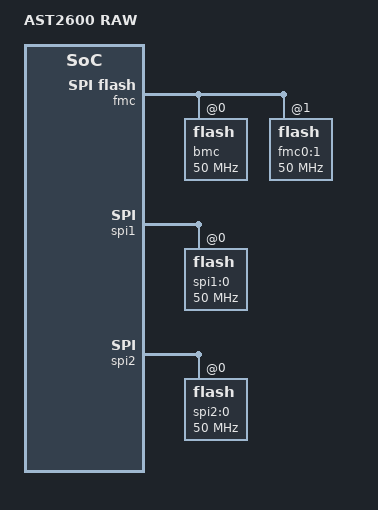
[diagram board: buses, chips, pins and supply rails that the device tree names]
// SPDX-License-Identifier: GPL-2.0-or-later
// Copyright 2019 IBM Corp.

/dts-v1/;

#include "aspeed-g6.dtsi"
#include <dt-bindings/gpio/aspeed-gpio.h>

/ {
	model = "AST2600 RAW";
};

&emmc_controller {
	status = "disabled";
};

&emmc {
	status = "disabled";
};

&fmc {
	status = "okay";
	pinctrl-names = "default";
	pinctrl-0 = <&pinctrl_fwqspi_default>;

	flash@0 {
		status = "okay";
		m25p,fast-read;
		label = "bmc";
		spi-rx-bus-width = <2>;
		spi-tx-bus-width = <2>;
		spi-max-frequency = <50000000>;
#include "aspeed-evb-flash-layout-64.dtsi"
	};

	flash@1 {
		status = "okay";
		m25p,fast-read;
		label = "fmc0:1";
		spi-rx-bus-width = <2>;
		spi-tx-bus-width = <2>;
		spi-max-frequency = <50000000>;
	};

	flash@2 {
		status = "disabled";
		m25p,fast-read;
		label = "fmc0:2";
		spi-rx-bus-width = <2>;
		spi-tx-bus-width = <2>;
		spi-max-frequency = <50000000>;
	};
};

&peci0 {
	status = "disabled";
};

&spi1 {
	status = "okay";
	pinctrl-names = "default";
	pinctrl-0 = <&pinctrl_spi1_default &pinctrl_spi1cs1_default
				 &pinctrl_qspi1_default>;

	flash@0 {
		status = "okay";
		m25p,fast-read;
		label = "spi1:0";
		spi-rx-bus-width = <2>;
		spi-tx-bus-width = <2>;
		spi-max-frequency = <50000000>;
	};

	flash@1 {
		status = "disabled";
		m25p,fast-read;
		label = "spi1:1";
		spi-rx-bus-width = <2>;
		spi-tx-bus-width = <2>;
		spi-max-frequency = <50000000>;
	};
};

&spi2 {
	pinctrl-names = "default";
	pinctrl-0 = <&pinctrl_spi2_default &pinctrl_spi2cs1_default
				&pinctrl_spi2cs2_default &pinctrl_qspi2_default>;
	status = "okay";

	flash@0 {
		status = "okay";
		m25p,fast-read;
		label = "spi2:0";
		spi-tx-bus-width = <2>;
		spi-rx-bus-width = <2>;
		spi-max-frequency = <50000000>;
	};

	flash@1 {
		status = "disabled";
		m25p,fast-read;
		label = "spi2:1";
		spi-tx-bus-width = <2>;
		spi-rx-bus-width = <2>;
		spi-max-frequency = <50000000>;
	};

	flash@2 {
		status = "disabled";
		m25p,fast-read;
		label = "spi2:2";
		spi-tx-bus-width = <2>;
		spi-rx-bus-width = <2>;
		spi-max-frequency = <50000000>;
	};
};

&uphyb {
	status = "disabled";
};

&sdc {
	status = "disabled";
};

&sdhci0 {
	status = "disabled";
};

&sdhci1 {
	status = "disabled";
};

&video {
	status = "disabled";
};

&gfx {
	status = "disabled";
};

&pciecfg {
	status = "disabled";
};

&pcie1 {
	status = "disabled";
};

&pcie_kcs1 {
	status = "disabled";
};

&pcie_kcs2 {
	status = "disabled";
};

&pcie_kcs3 {
	status = "disabled";
};

&pcie_kcs4 {
	status = "disabled";
};

&i3c0 {
	status = "disabled";
};

&i3c1 {
	status = "disabled";
};

&i3c2 {
	status = "disabled";
};

&i3c3 {
	status = "disabled";
};

&i3c4 {
	status = "disabled";
};

&i3c5 {
	status = "disabled";
};
